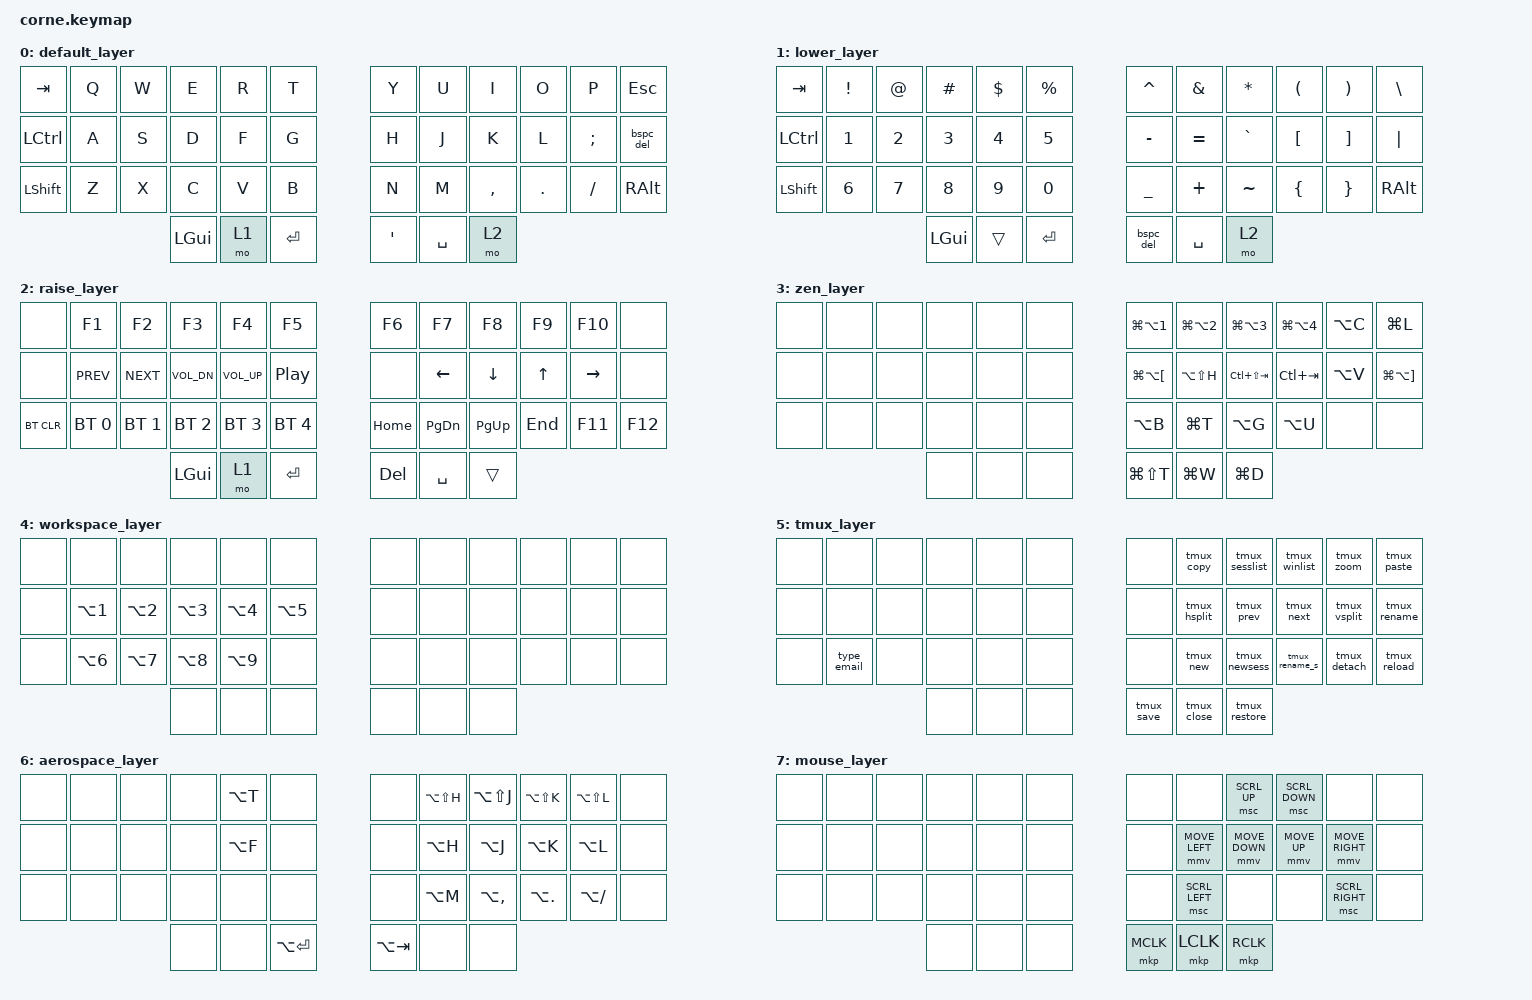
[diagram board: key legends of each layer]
/*
 * Corne Keyboard ZMK Keymap
 * Layout: Josean Martinez base + Andrei Mods
 *
 * Layers:
 *   0 = Base (QWERTY)
 *   1 = Lower (numbers, symbols, brackets)
 *   2 = Raise (F-keys, media, arrows on JKL;, nav, BT)
 *   3 = Zen Browser (tabs, workspaces, splits via S+F combo)
 *   4 = Workspace (AeroSpace switching via K+L combo)
 *   5 = tmux (prefix macros via D+F combo)
 *   6 = AeroSpace (window focus/move via A+S combo)
 *   7 = Mouse (cursor, scroll, clicks via A+F combo)
 *
 * Combos:
 *   L1 + L2 (thumb keys)  → Right Shift (Karabiner: tap=dead acute, hold+;=ñ)
 *   J + K                 → CapsLock (Karabiner: hold=Hyper, tap=Escape)
 *   S + F (hold)          → Layer 3 (Zen Browser)
 *   K + L (hold)          → Layer 4 (Workspace)
 *   D + F (hold)          → Layer 5 (tmux)
 *   A + S (hold)          → Layer 6 (AeroSpace)
 *   A + F (hold)          → Layer 7 (Mouse)
 *
 * Key positions (Corne 42-key):
 *    0  1  2  3  4  5       6  7  8  9 10 11
 *   12 13 14 15 16 17      18 19 20 21 22 23
 *   24 25 26 27 28 29      30 31 32 33 34 35
 *               36 37 38  39 40 41
 *
 * Hardware: Nice!Nano v2 + Nice!View display
 * Firmware: ZMK v0.3.0
 *
 * github.com/andreiveisuade/zmk-corne-layout
 */

#include <behaviors.dtsi>
#include <dt-bindings/zmk/keys.h>
#include <dt-bindings/zmk/bt.h>
#include <dt-bindings/zmk/mouse.h>

/* Mouse speed tuning: faster response, no startup delay */
&mmv {
    delay-ms = <0>;
    time-to-max-speed-ms = <150>;
    acceleration-exponent = <1>;
};
&msc {
    delay-ms = <0>;
    time-to-max-speed-ms = <150>;
    acceleration-exponent = <0>;
};

/ {
    /* ================================================================
     *  TMUX MACROS — each sends Ctrl+A (prefix) then the action key
     *  Used by Layer 5 (D+F combo)
     * ================================================================ */
    macros {
        // Splits
        tmux_hsplit: tmux_hsplit {
            compatible = "zmk,behavior-macro";
            #binding-cells = <0>;
            wait-ms = <30>;
            tap-ms = <30>;
            bindings = <&kp LC(A)>, <&kp MINUS>;
        };
        tmux_vsplit: tmux_vsplit {
            compatible = "zmk,behavior-macro";
            #binding-cells = <0>;
            wait-ms = <30>;
            tap-ms = <30>;
            bindings = <&kp LC(A)>, <&kp PIPE>;
        };
        // Window navigation
        tmux_next: tmux_next {
            compatible = "zmk,behavior-macro";
            #binding-cells = <0>;
            wait-ms = <30>;
            tap-ms = <30>;
            bindings = <&kp LC(A)>, <&kp N>;
        };
        tmux_prev: tmux_prev {
            compatible = "zmk,behavior-macro";
            #binding-cells = <0>;
            wait-ms = <30>;
            tap-ms = <30>;
            bindings = <&kp LC(A)>, <&kp P>;
        };
        tmux_new: tmux_new {
            compatible = "zmk,behavior-macro";
            #binding-cells = <0>;
            wait-ms = <30>;
            tap-ms = <30>;
            bindings = <&kp LC(A)>, <&kp C>;
        };
        // Pane management
        tmux_close: tmux_close {
            compatible = "zmk,behavior-macro";
            #binding-cells = <0>;
            wait-ms = <30>;
            tap-ms = <30>;
            bindings = <&kp LC(A)>, <&kp X>;
        };
        tmux_zoom: tmux_zoom {
            compatible = "zmk,behavior-macro";
            #binding-cells = <0>;
            wait-ms = <30>;
            tap-ms = <30>;
            bindings = <&kp LC(A)>, <&kp Z>;
        };
        // Copy mode & paste
        tmux_copy: tmux_copy {
            compatible = "zmk,behavior-macro";
            #binding-cells = <0>;
            wait-ms = <30>;
            tap-ms = <30>;
            bindings = <&kp LC(A)>, <&kp LBKT>;
        };
        tmux_paste: tmux_paste {
            compatible = "zmk,behavior-macro";
            #binding-cells = <0>;
            wait-ms = <30>;
            tap-ms = <30>;
            bindings = <&kp LC(A)>, <&kp RBKT>;
        };
        // Lists
        tmux_winlist: tmux_winlist {
            compatible = "zmk,behavior-macro";
            #binding-cells = <0>;
            wait-ms = <30>;
            tap-ms = <30>;
            bindings = <&kp LC(A)>, <&kp W>;
        };
        tmux_sesslist: tmux_sesslist {
            compatible = "zmk,behavior-macro";
            #binding-cells = <0>;
            wait-ms = <30>;
            tap-ms = <30>;
            bindings = <&kp LC(A)>, <&kp F>;
        };
        // Rename
        tmux_rename: tmux_rename {
            compatible = "zmk,behavior-macro";
            #binding-cells = <0>;
            wait-ms = <30>;
            tap-ms = <30>;
            bindings = <&kp LC(A)>, <&kp COMMA>;
        };
        tmux_rename_s: tmux_rename_s {
            compatible = "zmk,behavior-macro";
            #binding-cells = <0>;
            wait-ms = <30>;
            tap-ms = <30>;
            bindings = <&kp LC(A)>, <&kp DLLR>;
        };
        // Session management
        tmux_detach: tmux_detach {
            compatible = "zmk,behavior-macro";
            #binding-cells = <0>;
            wait-ms = <30>;
            tap-ms = <30>;
            bindings = <&kp LC(A)>, <&kp D>;
        };
        tmux_newsess: tmux_newsess {
            compatible = "zmk,behavior-macro";
            #binding-cells = <0>;
            wait-ms = <30>;
            tap-ms = <30>;
            bindings = <&kp LC(A)>, <&kp LS(S)>;
        };
        tmux_reload: tmux_reload {
            compatible = "zmk,behavior-macro";
            #binding-cells = <0>;
            wait-ms = <30>;
            tap-ms = <30>;
            bindings = <&kp LC(A)>, <&kp R>;
        };
        // Personal data
        type_email: type_email {
            compatible = "zmk,behavior-macro";
            #binding-cells = <0>;
            wait-ms = <30>;
            tap-ms = <30>;
            bindings = <&kp A>, <&kp N>, <&kp D>, <&kp R>, <&kp E>, <&kp I>, <&kp DOT>, <&kp V>, <&kp E>, <&kp I>, <&kp S>, <&kp DOT>, <&kp N3>, <&kp N6>, <&kp N0>, <&kp AT>, <&kp G>, <&kp M>, <&kp A>, <&kp I>, <&kp L>, <&kp DOT>, <&kp C>, <&kp O>, <&kp M>;
        };
        // Resurrect
        tmux_save: tmux_save {
            compatible = "zmk,behavior-macro";
            #binding-cells = <0>;
            wait-ms = <30>;
            tap-ms = <30>;
            bindings = <&kp LC(A)>, <&kp LC(S)>;
        };
        tmux_restore: tmux_restore {
            compatible = "zmk,behavior-macro";
            #binding-cells = <0>;
            wait-ms = <30>;
            tap-ms = <30>;
            bindings = <&kp LC(A)>, <&kp LC(R)>;
        };
    };

    /* ================================================================
     *  BEHAVIORS
     *  bspc_del: Backspace normally, Delete when Shift is held
     * ================================================================ */
    behaviors {
        bspc_del: backspace_delete {
            compatible = "zmk,behavior-mod-morph";
            #binding-cells = <0>;
            bindings = <&kp BACKSPACE>, <&kp DELETE>;
            mods = <(MOD_LSFT|MOD_RSFT)>;
        };
    };

    combos {
        compatible = "zmk,combos";

        /* L1 + L2 → Right Shift
         * Karabiner intercepts RSHFT:
         *   tap → dead acute ´ (then vowel → tilde)
         *   hold + ; → ñ
         */
        combo_rshift {
            timeout-ms = <150>;
            require-prior-idle-ms = <150>;
            key-positions = <37 41>;  // Lower thumb + Raise thumb
            bindings = <&kp RSHFT>;
        };

        /* J + K → CapsLock
         * Karabiner intercepts CapsLock:
         *   hold → Hyper (Ctrl+Shift+Option+Cmd)
         *   tap → Escape
         * "jk" is extremely rare — lenient timing for easy activation
         */
        combo_capslock {
            timeout-ms = <100>;
            require-prior-idle-ms = <150>;
            key-positions = <19 20>;  // J + K
            bindings = <&kp CAPSLOCK>;
        };

        /* S + F (hold) → Zen Browser Layer (Layer 3)
         * Skip combo (skips D) — like A+F for Mouse
         * "sf" never appears in words — safe timing
         */
        combo_zen {
            timeout-ms = <60>;
            require-prior-idle-ms = <200>;
            key-positions = <14 16>;  // S + F
            bindings = <&mo 3>;
        };

        /* K + L (hold) → Workspace Layer (Layer 4)
         * "kl" appears in some words (walk, folk) — moderate timing
         */
        combo_workspace {
            timeout-ms = <60>;
            require-prior-idle-ms = <200>;
            key-positions = <20 21>;  // K + L
            bindings = <&mo 4>;
        };

        /* D + F (hold) → tmux Layer (Layer 5)
         * Right hand keys send Ctrl+A prefix macros
         * "df" is rare — moderate timing
         */
        combo_tmux {
            timeout-ms = <60>;
            require-prior-idle-ms = <200>;
            key-positions = <15 16>;  // D + F
            bindings = <&mo 5>;
        };

        /* A + S (hold) → AeroSpace Layer (Layer 6)
         * "as"/"sa" is VERY common (casa, las, was, has) — strict timing
         * timeout 40ms = must be nearly simultaneous
         * idle 300ms = won't trigger during typing flow
         */
        combo_aerospace {
            timeout-ms = <40>;
            require-prior-idle-ms = <300>;
            key-positions = <13 14>;  // A + S
            bindings = <&mo 6>;
        };

        /* A + F (hold) → Mouse Layer (Layer 7)
         * Skip combo (skips S,D) — very unlikely to trigger accidentally
         * Cursor movement, scroll, and clicks on the right hand
         */
        combo_mouse {
            timeout-ms = <60>;
            require-prior-idle-ms = <200>;
            key-positions = <13 16>;  // A + F
            bindings = <&mo 7>;
        };
    };

    keymap {
        compatible = "zmk,keymap";

        /* ┌──────────────────────────────────────────────────────────┐
         * │  LAYER 0 — Base                                         │
         * │ Tab  Q  W  E  R  T  │  Y  U  I  O  P  ESC              │
         * │ Ctrl A  S  D  F  G  │  H  J  K  L  ; Bspc             │
         * │ Shft Z  X  C  V  B  │  N  M  ,  .  /  Alt              │
         * │         CMD L1 Ent  │   '  Spc L2                      │
         * │  Bspc: mod-morph (Shift+Bspc = Delete forward)         │
         * └──────────────────────────────────────────────────────────┘
         */
        default_layer {
            bindings = <
                &kp TAB   &kp Q &kp W &kp E &kp R &kp T     &kp Y &kp U &kp I     &kp O   &kp P    &kp ESC
                &kp LCTRL &kp A &kp S &kp D &kp F &kp G     &kp H &kp J &kp K     &kp L   &kp SEMI &bspc_del
                &kp LSHFT &kp Z &kp X &kp C &kp V &kp B     &kp N &kp M &kp COMMA &kp DOT &kp FSLH &kp RALT
                                    &kp LGUI &mo 1 &kp RET   &kp SQT &kp SPACE &mo 2
            >;
        };

        /* ┌──────────────────────────────────────────────────────────┐
         * │  LAYER 1 — Lower (hold L1 thumb)                        │
         * │ Tab  !  @  #  $  %  │  ^  &  *  (  )  \                │
         * │ Ctrl 1  2  3  4  5  │  -  =  `  [  ]  |                │
         * │ Shft 6  7  8  9  0  │  _  +  ~  {  }  Alt              │
         * │         CMD __ Ent  │  Bspc Spc [L2]                   │
         * └──────────────────────────────────────────────────────────┘
         */
        lower_layer {
            bindings = <
                &kp TAB   &kp EXCL &kp AT &kp HASH &kp DLLR &kp PRCNT   &kp CARET &kp AMPS  &kp ASTRK &kp LPAR &kp RPAR &kp BSLH
                &kp LCTRL &kp N1   &kp N2 &kp N3   &kp N4   &kp N5      &kp MINUS &kp EQUAL &kp GRAVE &kp LBKT &kp RBKT &kp PIPE
                &kp LSHFT &kp N6   &kp N7 &kp N8   &kp N9   &kp N0      &kp UNDER &kp PLUS  &kp TILDE &kp LBRC &kp RBRC &kp RALT
                                          &kp LGUI &trans    &kp RET     &bspc_del &kp SPACE &mo 2
            >;
        };

        /* ┌──────────────────────────────────────────────────────────┐
         * │  LAYER 2 — Raise (hold L2 thumb)                        │
         * │  __  F1  F2  F3  F4  F5  │  F6  F7   F8   F9  F10  __ │
         * │  __  Prv Nxt V-  V+  Ply │  __   ←    ↓    ↑   →   __ │
         * │ BTC BT1 BT2 BT3 BT4 BT5 │ Hom PgDn PgUp End F11  F12 │
         * │         CMD [L1] Ent     │  DEL Spc  __                │
         * │  ERGO: arrows on JKL; (right hand stays on home row)    │
         * └──────────────────────────────────────────────────────────┘
         */
        raise_layer {
            bindings = <
                &none     &kp F1     &kp F2     &kp F3       &kp F4       &kp F5        &kp F6    &kp F7    &kp F8    &kp F9    &kp F10   &none
                &none     &kp C_PREV &kp C_NEXT &kp C_VOL_DN &kp C_VOL_UP &kp C_PP      &none     &kp LEFT  &kp DOWN  &kp UP    &kp RIGHT &none
                &bt BT_CLR &bt BT_SEL 0 &bt BT_SEL 1 &bt BT_SEL 2 &bt BT_SEL 3 &bt BT_SEL 4   &kp HOME &kp PG_DN &kp PG_UP &kp END &kp F11 &kp F12
                                          &kp LGUI &mo 1     &kp RET     &kp DEL   &kp SPACE &trans
            >;
        };

        /* ┌──────────────────────────────────────────────────────────┐
         * │  LAYER 3 — Zen Browser (hold S+F combo)                   │
         * │  __  __  __  __  __  __  │ WS1  WS2  WS3  WS4 Comp  URL  │
         * │  __  __  ▼   ▼   __  __  │ WS←  SpH  Prev Next SpV   WS→ │
         * │  __  __  __  __  __  __  │ Side New  Grid Unsp  __    __  │
         * │           __  __  __     │ Rst  Close Bkmk                │
         * │  Mirrors tmux: K=prev, L=next, J=hsplit, ;=vsplit         │
         * └──────────────────────────────────────────────────────────┘
         */
        zen_layer {
            bindings = <
                &none &none &none &none &none &none   &kp LG(LA(N1)) &kp LG(LA(N2)) &kp LG(LA(N3)) &kp LG(LA(N4)) &kp LA(C) &kp LG(L)
                &none &none &none &none &none &none   &kp LG(LA(LBKT)) &kp LA(LS(H)) &kp LC(LS(TAB)) &kp LC(TAB) &kp LA(V) &kp LG(LA(RBKT))
                &none &none &none &none &none &none   &kp LA(B) &kp LG(T) &kp LA(G) &kp LA(U) &none &none
                                  &none &none &none   &kp LG(LS(T)) &kp LG(W) &kp LG(D)
            >;
        };

        /* ┌──────────────────────────────────────────────────────────┐
         * │  LAYER 4 — Workspace (hold K+L combo)                   │
         * │  A=WS1, S=WS2, D=WS3, F=WS4, G=WS5                    │
         * │  Z=WS6, X=WS7, C=WS8, V=WS9                           │
         * │  Sends Alt+N → AeroSpace workspace N                    │
         * └──────────────────────────────────────────────────────────┘
         */
        workspace_layer {
            bindings = <
                &none &none      &none      &none      &none      &none        &none &none &none &none &none &none
                &none &kp LA(N1) &kp LA(N2) &kp LA(N3) &kp LA(N4) &kp LA(N5)   &none &none &none &none &none &none
                &none &kp LA(N6) &kp LA(N7) &kp LA(N8) &kp LA(N9) &none        &none &none &none &none &none &none
                                            &none      &none      &none        &none &none &none
            >;
        };

        /* ┌──────────────────────────────────────────────────────────┐
         * │  LAYER 5 — tmux (hold D+F combo)                        │
         * ├──────────────────────────────────────────────────────────┤
         * │  Each key sends Ctrl+A (tmux prefix) + action key       │
         * │  Left hand holds D+F, right hand executes:              │
         * │  ERGO: shifted one key right (JKL; home row)            │
         * │                                                          │
         * │  __  __  __  __  __  __  │  __ Y:cpy U:fzf I:win O:zoom P:pst│
         * │  __  __  __  __  __  __  │  __  J:-  K:prv L:nxt ;:|  ':ren │
         * │  __ Z:mail __  __  __  __ │  __ M:new N:ses .:re$ /:det rld  │
         * │         __  __  __       │  sav   cls   rst                  │
         * └──────────────────────────────────────────────────────────┘
         */
        tmux_layer {
            bindings = <
                &none &none &none &none &none &none   &none        &tmux_copy     &tmux_sesslist &tmux_winlist &tmux_zoom    &tmux_paste
                &none &none &none &none &none &none   &none        &tmux_hsplit   &tmux_prev     &tmux_next   &tmux_vsplit  &tmux_rename
                &none &type_email &none &none &none &none   &none        &tmux_new      &tmux_newsess  &tmux_rename_s &tmux_detach &tmux_reload
                                  &none &none &none   &tmux_save   &tmux_close    &tmux_restore
            >;
        };

        /* ┌──────────────────────────────────────────────────────────┐
         * │  LAYER 6 — AeroSpace (hold A+S combo)                   │
         * │  Home row: jkl; → Alt+hjkl (focus) — shifted for ergo   │
         * │  Top row:  uiop → Alt+Shift+hjkl (move) — shifted       │
         * │  f=fullscreen, t=scratchpad, space=ws prev, enter=kitty  │
         * │  Bottom right: m,./ = resize (width-,height+,height-,width+) │
         * └──────────────────────────────────────────────────────────┘
         */
        aerospace_layer {
            bindings = <
                &none       &none &none &none &kp LA(T) &none             &none          &kp LA(LS(H)) &kp LA(LS(J)) &kp LA(LS(K)) &kp LA(LS(L)) &none
                &none       &none &none &none &kp LA(F) &none             &none          &kp LA(H)     &kp LA(J)     &kp LA(K)     &kp LA(L)     &none
                &none       &none &none &none &none     &none             &none          &kp LA(M)     &kp LA(COMMA) &kp LA(DOT)   &kp LA(SLASH) &none
                                        &none &none     &kp LA(RET)       &kp LA(TAB)    &none         &none
            >;
        };

        /* ┌──────────────────────────────────────────────────────────┐
         * │  LAYER 7 — Mouse (hold A+F combo)                       │
         * │  Home row: jkl; = cursor movement — shifted for ergo     │
         * │  Top row:  i,o = scroll vertical                         │
         * │  Bottom: m,/ = scroll horizontal                         │
         * │  Thumbs: middle/left/right click                         │
         * │  Requires CONFIG_ZMK_MOUSE=y in .conf                    │
         * └──────────────────────────────────────────────────────────┘
         */
        mouse_layer {
            bindings = <
                &none &none &none &none &none &none   &none        &none          &msc SCRL_UP &msc SCRL_DOWN &none           &none
                &none &none &none &none &none &none   &none        &mmv MOVE_LEFT &mmv MOVE_DOWN &mmv MOVE_UP &mmv MOVE_RIGHT &none
                &none &none &none &none &none &none   &none        &msc SCRL_LEFT &none          &none        &msc SCRL_RIGHT &none
                                  &none &none &none   &mkp MCLK    &mkp LCLK      &mkp RCLK
            >;
        };
    };
};
